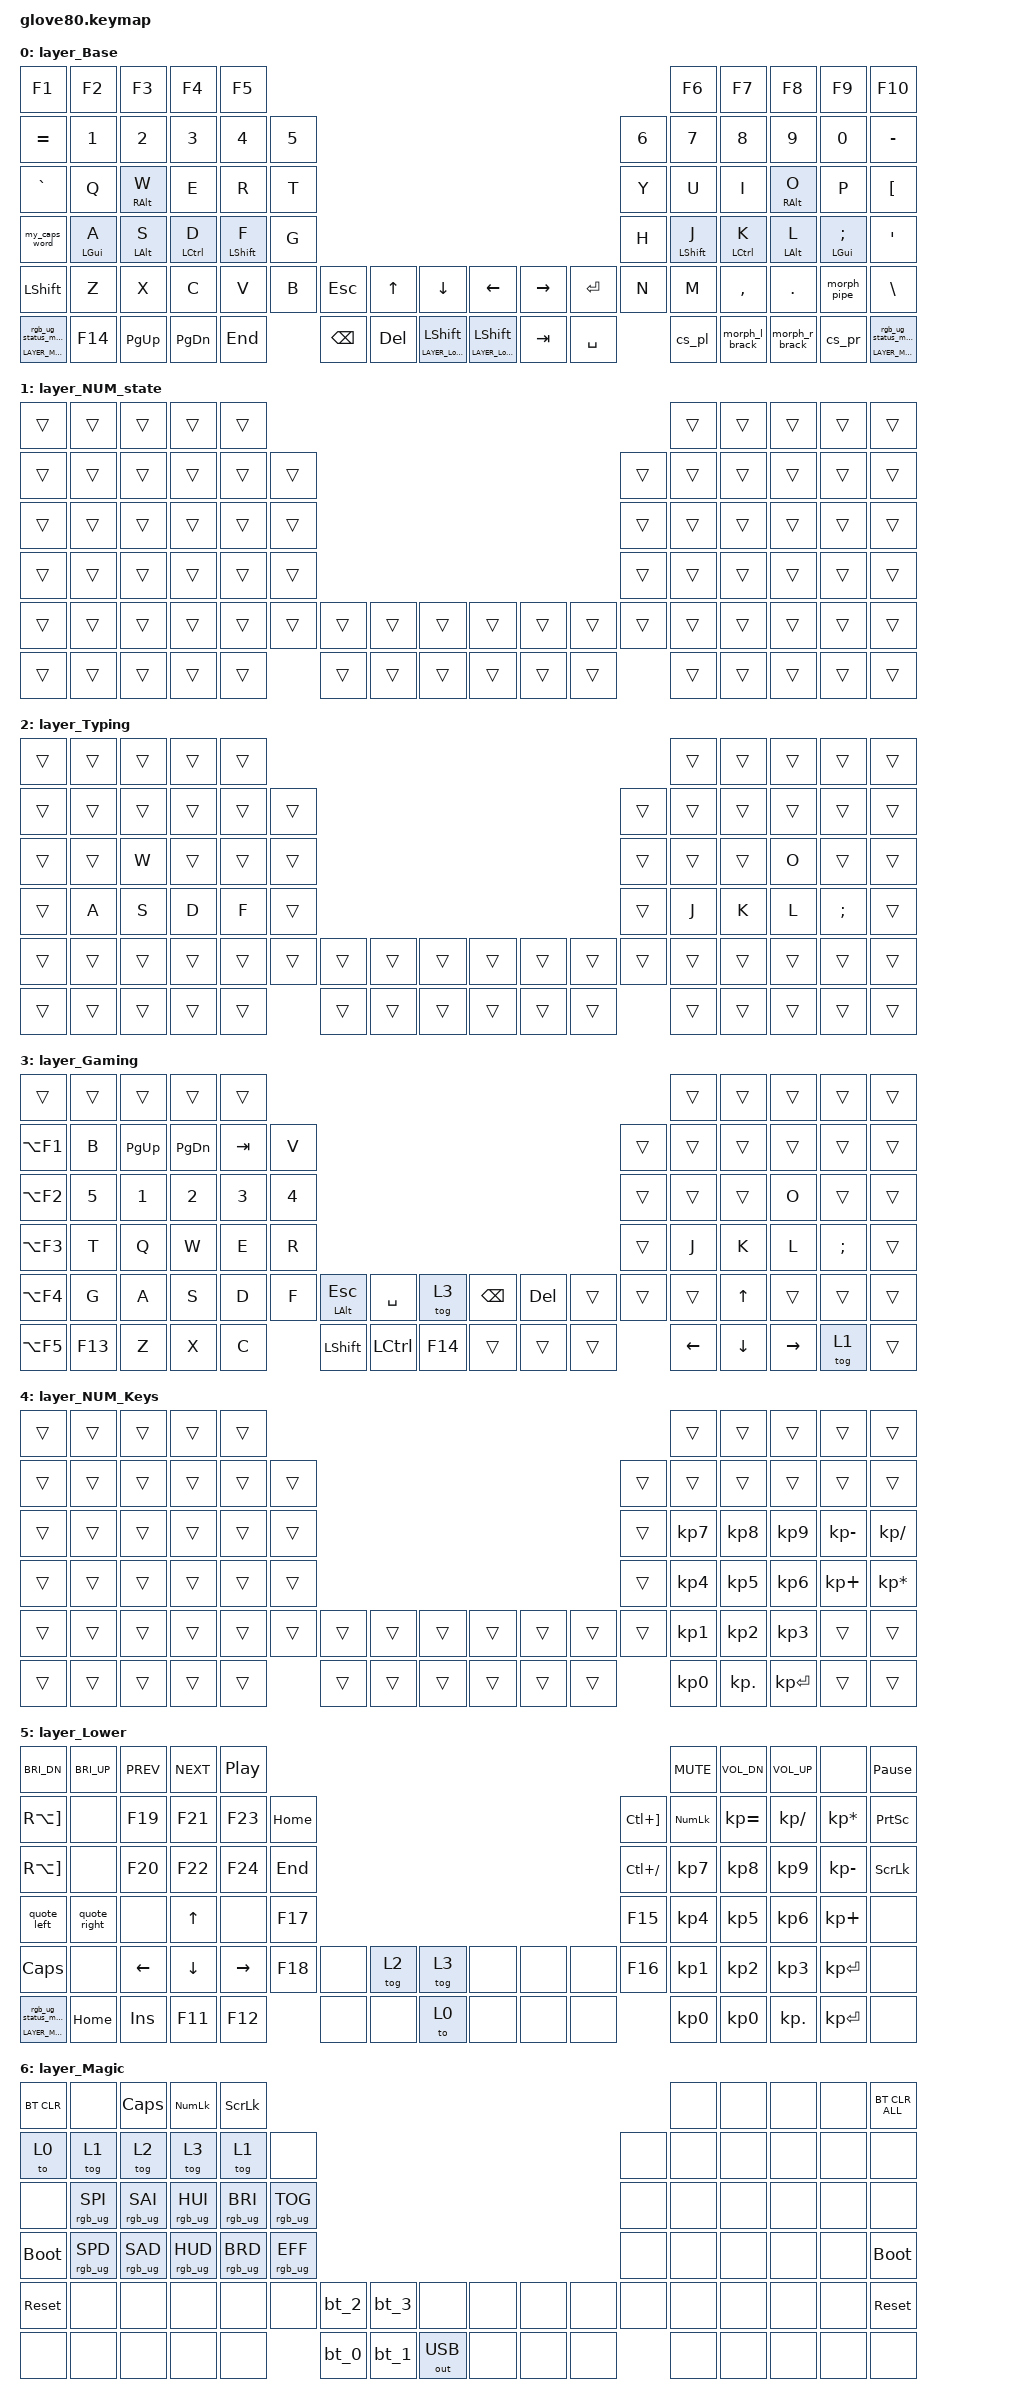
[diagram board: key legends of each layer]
/*
 * Copyright (c) 2020 The ZMK Contributors
 * Copyright (c) 2025 Innaworks Development Limited, trading as MoErgo
 *
 * SPDX-License-Identifier: MIT
 */


/* THIS FILE WAS GENERATED BY GLOVE80 LAYOUT EDITOR
 *
 * This file was generated automatically. You may or may not want to
 * edit it directly.
 */

#include <behaviors.dtsi>
/* Include all behavior includes needed */
#include <dt-bindings/zmk/outputs.h>
#include <dt-bindings/zmk/keys.h>
#include <dt-bindings/zmk/bt.h>
#include <dt-bindings/zmk/rgb.h>

/* On demand includes */


/* Helper Macros, based on https://github.com/urob/zmk-helpers/ */

#pragma once

#define ZMK_HELPER_STRINGIFY(x) #x

// Preprocessor mechanism to overload macros, cf. https://stackoverflow.com/a/27051616/6114651
#define VARGS_(_10, _9, _8, _7, _6, _5, _4, _3, _2, _1, N, ...) N
#define VARGS(...) VARGS_(__VA_ARGS__, 10, 9, 8, 7, 6, 5, 4, 3, 2, 1, 0)
#define CONCAT_(a, b) a##b
#define CONCAT(a, b) CONCAT_(a, b)

#define ZMK_BEHAVIOR_CORE_tap_dance  \
    compatible = "zmk,behavior-tap-dance"; \
    #binding-cells = <0>

#define ZMK_BEHAVIOR(name, type, ...) \
    name: name { \
        ZMK_BEHAVIOR_CORE_ ## type; \
        __VA_ARGS__ \
    };

#define ZMK_TAP_DANCE(name, ...) \
    ZMK_BEHAVIOR(name, tap_dance, __VA_ARGS__)

#define ZMK_TD_LAYER(name, layer) \
    ZMK_TAP_DANCE(name, \
        tapping-term-ms = <200>; \
        bindings = <&mo layer>, <&to layer>; \
)

/* Automatically generated layer name #define */
#define LAYER_Base 0
#define LAYER_NUM_state 1
#define LAYER_Typing 2
#define LAYER_Gaming 3
#define LAYER_NUM_Keys 4
#define LAYER_Lower 5
#define LAYER_Magic 6

/* To deal with the situation where there is no Lower layer, to keep &lower happy */
#ifndef LAYER_Lower
#define LAYER_Lower 0
#endif

/* Custom Device-tree */
/* Empty underglow layer definition (for copy-paste)
        mylayer {
            bindings = <
                &ug ___ &ug ___ &ug ___ &ug ___ &ug ___                                                          &ug ___ &ug ___ &ug ___ &ug ___ &ug ___
                &ug ___ &ug ___ &ug ___ &ug ___ &ug ___ &ug ___                                            &ug ___ &ug ___ &ug ___ &ug ___ &ug ___ &ug ___
                &ug ___ &ug ___ &ug ___ &ug ___ &ug ___ &ug ___                                            &ug ___ &ug ___ &ug ___ &ug ___ &ug ___ &ug ___
                &ug ___ &ug ___ &ug ___ &ug ___ &ug ___ &ug ___                                            &ug ___ &ug ___ &ug ___ &ug ___ &ug ___ &ug ___
                &ug ___ &ug ___ &ug ___ &ug ___ &ug ___ &ug ___ &ug ___ &ug ___ &ug ___  &ug ___ &ug ___ &ug ___ &ug ___ &ug ___ &ug ___ &ug ___ &ug ___ &ug ___
                &ug ___ &ug ___ &ug ___ &ug ___ &ug ___        &ug ___ &ug ___ &ug ___  &ug ___ &ug ___ &ug ___        &ug ___ &ug ___ &ug ___ &ug ___ &ug ___
                >;
            layer-id = <LAYER_Name>;
        };
*/

#include <dt-bindings/zmk/rgb_colors.h>
/ {
    underglow-layer {
        compatible  = "zmk,underglow-layer";

        lower {
            bindings = <
                &ug ___ &ug ___ &ug ___ &ug ___ &ug ___                                                          &ug ___ &ug ___ &ug ___ &ug ___ &ug ___
                &ug ___ &ug ___ &ug ___ &ug ___ &ug ___ &ug ___                                            &ug ___ &ug ___ &ug ___ &ug ___ &ug ___ &ug ___
                &ug ___ &ug ___ &ug ___ &ug ___ &ug ___ &ug ___                                            &ug ___ &ug ORANGE &ug ORANGE &ug ORANGE &ug ___ &ug ___
                &ug ___ &ug ___ &ug ___ &ug RED &ug ___ &ug ___                                            &ug ___ &ug ORANGE &ug ORANGE &ug ORANGE &ug ___ &ug ___
                &ug ___ &ug ___ &ug RED &ug RED &ug RED    &ug ___ &ug ___ &ug ___ &ug ___  &ug ___ &ug ___ &ug ___ &ug ___ &ug ORANGE &ug ORANGE &ug ORANGE &ug ___ &ug ___
                &ug ___ &ug ___ &ug ___ &ug ___ &ug ___        &ug ___ &ug ___ &ug ___  &ug ___ &ug ___ &ug ___        &ug YELLOW &ug YELLOW &ug ___ &ug ___ &ug ___
                >;
            layer-id = <LAYER_Lower>;
        };

        magic {
            bindings = <
                  &ug TEAL   &ug TEAL   &ug TEAL   &ug TEAL   &ug TEAL                                                            &ug TEAL   &ug TEAL   &ug TEAL   &ug TEAL   &ug TEAL 
                  &ug PINK &ug ___ &ug ___ &ug ___ &ug ___ &ug ___                                            &ug ___ &ug ___ &ug ___ &ug ___ &ug ___   &ug PINK
                  &ug PINK &ug ___ &ug ___ &ug ___ &ug ___ &ug ___                                            &ug ___ &ug ___ &ug ___ &ug ___ &ug ___   &ug PINK
                  &ug PINK &ug ___ &ug ___ &ug ___ &ug ___ &ug ___                                            &ug ___ &ug ___ &ug ___ &ug ___ &ug ___   &ug PINK
                  &ug PINK &ug ___ &ug ___ &ug ___ &ug ___ &ug ___ &ug ___ &ug ___ &ug ___  &ug ___ &ug ___ &ug ___ &ug ___ &ug ___ &ug ___ &ug ___ &ug ___   &ug PINK
                  &ug PINK &ug ___ &ug ___ &ug ___ &ug ___        &ug ___ &ug ___ &ug ___  &ug ___ &ug ___ &ug ___        &ug ___ &ug ___ &ug ___ &ug ___   &ug PINK
                >;
            layer-id = <LAYER_Magic>;
        };

        gaming {
            bindings = <
                &ug ___ &ug ___ &ug ___ &ug ___ &ug ___                                                          &ug ___ &ug ___ &ug ___ &ug ___ &ug ___
                &ug ___ &ug ___ &ug ___ &ug ___ &ug ___ &ug ___                                            &ug ___ &ug ___ &ug ___ &ug ___ &ug ___ &ug ___
                &ug ___ &ug ___ &ug ___ &ug ___ &ug ___ &ug ___                                            &ug ___ &ug ___ &ug ___ &ug ___ &ug ___ &ug ___
                &ug ___ &ug ___ &ug ___ &ug ___ &ug ___ &ug ___                                            &ug ___ &ug ___ &ug ___ &ug ___ &ug ___ &ug ___
                &ug ___ &ug ___ &ug ___ &ug ___ &ug ___ &ug ___ &ug ___ &ug ___ &ug PURPLE  &ug ___ &ug ___ &ug ___ &ug ___ &ug ___ &ug ___ &ug ___ &ug ___ &ug ___
                &ug ___ &ug ___ &ug ___ &ug ___ &ug ___        &ug ___ &ug ___ &ug ___  &ug ___ &ug ___ &ug ___        &ug ___ &ug ___ &ug ___ &ug ___ &ug ___
                >;
            layer-id = <LAYER_Gaming>;
        };

        typing {
            bindings = <
                &ug ___ &ug ___ &ug ___ &ug ___ &ug ___                                                          &ug ___ &ug ___ &ug ___ &ug ___ &ug ___
                &ug ___ &ug ___ &ug ___ &ug ___ &ug ___ &ug ___                                            &ug ___ &ug ___ &ug ___ &ug ___ &ug ___ &ug ___
                &ug ___ &ug ___ &ug ___ &ug ___ &ug ___ &ug ___                                            &ug ___ &ug ___ &ug ___ &ug ___ &ug ___ &ug ___
                &ug ___ &ug ___ &ug ___ &ug ___ &ug ___ &ug ___                                            &ug ___ &ug ___ &ug ___ &ug ___ &ug ___ &ug ___
                &ug ___ &ug ___ &ug ___ &ug ___ &ug ___ &ug ___ &ug ___ &ug PURPLE &ug ___  &ug ___ &ug ___ &ug ___ &ug ___ &ug ___ &ug ___ &ug ___ &ug ___ &ug ___
                &ug ___ &ug ___ &ug ___ &ug ___ &ug ___        &ug ___ &ug ___ &ug ___  &ug ___ &ug ___ &ug ___        &ug ___ &ug ___ &ug ___ &ug ___ &ug ___
                >;
            layer-id = <LAYER_Typing>;
        };

        numkeys {
            bindings = <
                &ug ___ &ug ___ &ug ___ &ug ___ &ug ___                                                          &ug ___ &ug ___ &ug ___ &ug ___ &ug ___
                &ug ___ &ug ___ &ug ___ &ug ___ &ug ___ &ug ___                                            &ug ___ &ug ___ &ug ___ &ug ___ &ug ___ &ug ___
                &ug ___ &ug ___ &ug ___ &ug ___ &ug ___ &ug ___                                            &ug ___ &ug ___ &ug ___ &ug ___ &ug ___ &ug ___
                &ug ___ &ug ___ &ug ___ &ug ___ &ug ___ &ug ___                                            &ug ___ &ug ___ &ug ___ &ug ___ &ug ___ &ug ___
                &ug ___ &ug ___ &ug ___ &ug ___ &ug ___ &ug ___ &ug ___ &ug ___ &ug PURPLE  &ug ___ &ug ___ &ug ___ &ug ___ &ug ___ &ug ___ &ug ___ &ug ___ &ug ___
                &ug ___ &ug ___ &ug ___ &ug ___ &ug ___        &ug ___ &ug ___ &ug ___  &ug ___ &ug ___ &ug ___        &ug ___ &ug ___ &ug ___ &ug PURPLE &ug ___
                >;
            layer-id = <LAYER_NUM_Keys>;
        };
    };
};

/* Input Listeners */


/* System behavior and Macros */
/ {
    behaviors {
        ZMK_TD_LAYER(lower, LAYER_Lower)
    };
};

/ {
    macros {
        rgb_ug_status_macro: rgb_ug_status_macro {
            label = "RGB_UG_STATUS";
            compatible = "zmk,behavior-macro";
            #binding-cells = <0>;
            bindings
                = <&rgb_ug RGB_STATUS>;
        };
    };
};


/ {
#ifdef BT_DISC_CMD
    behaviors {
        bt_0: bt_0 {
            compatible = "zmk,behavior-tap-dance";
            label = "BT_0";
            #binding-cells = <0>;
            tapping-term-ms = <200>;
            bindings = <&bt_select_0>, <&bt BT_DISC 0>;
        };
        bt_1: bt_1 {
            compatible = "zmk,behavior-tap-dance";
            label = "BT_1";
            #binding-cells = <0>;
            tapping-term-ms = <200>;
            bindings = <&bt_select_1>, <&bt BT_DISC 1>;
        };
        bt_2: bt_2 {
            compatible = "zmk,behavior-tap-dance";
            label = "BT_2";
            #binding-cells = <0>;
            tapping-term-ms = <200>;
            bindings = <&bt_select_2>, <&bt BT_DISC 2>;
        };
        bt_3: bt_3 {
            compatible = "zmk,behavior-tap-dance";
            label = "BT_3";
            #binding-cells = <0>;
            tapping-term-ms = <200>;
            bindings = <&bt_select_3>, <&bt BT_DISC 3>;
        };
    };
    macros {
        bt_select_0: bt_select_0 {
            label = "BT_SELECT_0";
            compatible = "zmk,behavior-macro";
            #binding-cells = <0>;
            bindings
                = <&out OUT_BLE>,
                  <&bt BT_SEL 0>;
        };
        bt_select_1: bt_select_1 {
            label = "BT_SELECT_1";
            compatible = "zmk,behavior-macro";
            #binding-cells = <0>;
            bindings
                = <&out OUT_BLE>,
                  <&bt BT_SEL 1>;
        };
        bt_select_2: bt_select_2 {
            label = "BT_SELECT_2";
            compatible = "zmk,behavior-macro";
            #binding-cells = <0>;
            bindings
                = <&out OUT_BLE>,
                  <&bt BT_SEL 2>;
        };
        bt_select_3: bt_select_3 {
            label = "BT_SELECT_3";
            compatible = "zmk,behavior-macro";
            #binding-cells = <0>;
            bindings
                = <&out OUT_BLE>,
                  <&bt BT_SEL 3>;
        };
    };
#else
    macros {
        bt_0: bt_0 {
            label = "BT_0";
            compatible = "zmk,behavior-macro";
            #binding-cells = <0>;
            bindings
                = <&out OUT_BLE>,
                  <&bt BT_SEL 0>;
        };
        bt_1: bt_1 {
            label = "BT_1";
            compatible = "zmk,behavior-macro";
            #binding-cells = <0>;
            bindings
                = <&out OUT_BLE>,
                  <&bt BT_SEL 1>;
        };
        bt_2: bt_2 {
            label = "BT_2";
            compatible = "zmk,behavior-macro";
            #binding-cells = <0>;
            bindings
                = <&out OUT_BLE>,
                  <&bt BT_SEL 2>;
        };
        bt_3: bt_3 {
            label = "BT_3";
            compatible = "zmk,behavior-macro";
            #binding-cells = <0>;
            bindings
                = <&out OUT_BLE>,
                  <&bt BT_SEL 3>;
        };
    };
#endif
};

/ {
    behaviors {
        magic: magic {
            compatible = "zmk,behavior-hold-tap";
            label = "MAGIC_HOLD_TAP";
            #binding-cells = <2>;
            flavor = "tap-preferred";
            tapping-term-ms = <200>;
            bindings = <&mo>, <&rgb_ug_status_macro>;
        };
    };
};

/* #define for key positions */
#define POS_LH_T1 52
#define POS_LH_T2 53
#define POS_LH_T3 54
#define POS_LH_T4 69
#define POS_LH_T5 70
#define POS_LH_T6 71
#define POS_LH_C1R2 15
#define POS_LH_C1R3 27
#define POS_LH_C1R4 39
#define POS_LH_C1R5 51
#define POS_LH_C2R1 4
#define POS_LH_C2R2 14
#define POS_LH_C2R3 26
#define POS_LH_C2R4 38
#define POS_LH_C2R5 50
#define POS_LH_C2R6 68
#define POS_LH_C3R1 3
#define POS_LH_C3R2 13
#define POS_LH_C3R3 25
#define POS_LH_C3R4 37
#define POS_LH_C3R5 49
#define POS_LH_C3R6 67
#define POS_LH_C4R1 2
#define POS_LH_C4R2 12
#define POS_LH_C4R3 24
#define POS_LH_C4R4 36
#define POS_LH_C4R5 48
#define POS_LH_C4R6 66
#define POS_LH_C5R1 1
#define POS_LH_C5R2 11
#define POS_LH_C5R3 23
#define POS_LH_C5R4 35
#define POS_LH_C5R5 47
#define POS_LH_C5R6 65
#define POS_LH_C6R1 0
#define POS_LH_C6R2 10
#define POS_LH_C6R3 22
#define POS_LH_C6R4 34
#define POS_LH_C6R5 46
#define POS_LH_C6R6 64
#define POS_RH_T1 57
#define POS_RH_T2 56
#define POS_RH_T3 55
#define POS_RH_T4 74
#define POS_RH_T5 73
#define POS_RH_T6 72
#define POS_RH_C1R2 16
#define POS_RH_C1R3 28
#define POS_RH_C1R4 40
#define POS_RH_C1R5 58
#define POS_RH_C2R1 5
#define POS_RH_C2R2 17
#define POS_RH_C2R3 29
#define POS_RH_C2R4 41
#define POS_RH_C2R5 59
#define POS_RH_C2R6 75
#define POS_RH_C3R1 6
#define POS_RH_C3R2 18
#define POS_RH_C3R3 30
#define POS_RH_C3R4 42
#define POS_RH_C3R5 60
#define POS_RH_C3R6 76
#define POS_RH_C4R1 7
#define POS_RH_C4R2 19
#define POS_RH_C4R3 31
#define POS_RH_C4R4 43
#define POS_RH_C4R5 61
#define POS_RH_C4R6 77
#define POS_RH_C5R1 8
#define POS_RH_C5R2 20
#define POS_RH_C5R3 32
#define POS_RH_C5R4 44
#define POS_RH_C5R5 62
#define POS_RH_C5R6 78
#define POS_RH_C6R1 9
#define POS_RH_C6R2 21
#define POS_RH_C6R3 33
#define POS_RH_C6R4 45
#define POS_RH_C6R5 63
#define POS_RH_C6R6 79

/* Custom Defined Behaviors */
/ {

#define OS_LEAD  &kp RALT &kp U  // OS specific sequence to initialize unicode
#define OS_TRAIL &kp RET         // OS specific sequence to terminate unicode

behaviors {

    // hold tab
    ht_tp: hold_tab {
        compatible = "zmk,behavior-hold-tap";
        #binding-cells = <2>;
        flavor = "tap-preferred";
        tapping-term-ms = <200>;
        quick-tap-ms = <200>;
        require-prior-idle-ms = <125>;
        bindings = <&kp>, <&kp>;
    };

    // My Mod tap
    mmt: my_mod_tap {
        compatible = "zmk,behavior-hold-tap";
        #binding-cells = <2>;
        flavor = "hold-preferred";
        tapping-term-ms = <200>;
        quick-tap-ms = <150>;
        require-prior-idle-ms = <20>;
        bindings = <&kp>, <&kpt>;
    };

    // Key Press with custom press time of 30ms
    kpt: kp_tap_time {
        compatible = "zmk,behavior-macro-one-param";
        label = "KPT";
        tap-ms = <30>;  // tweak as needed
        #binding-cells = <1>;
        bindings = <&macro_param_1to1>, <&kp MACRO_PLACEHOLDER>;
    };

    // hold tab lower and shift
    skq: sticky_key_quick_release {
        compatible = "zmk,behavior-sticky-key";
        #binding-cells = <1>;
        bindings = <&kp>;
        release-after-ms = <5000>;
        quick-release;
        ignore-modifiers;
    };
    ht_lower: ht_lower {
        compatible = "zmk,behavior-hold-tap";
        #binding-cells = <2>;
        flavor = "tap-preferred";
        tapping-term-ms = <200>;
        quick-tap-ms = <200>;
        require-prior-idle-ms = <125>;
        bindings = <&mo>, <&skq>;
    };


      
    // Ctrl + Shift to make ( or < 
    cs_pl: cs_pl {
        compatible = "zmk,behavior-mod-morph";
        #binding-cells = <0>;
        bindings = <&kp LS(N8)>, <&kp NON_US_BSLH>;
        mods = <(MOD_LCTL|MOD_LSFT|MOD_RCTL|MOD_RSFT)>;
    };

    // Ctrl + Shift to make ) or < 
    cs_pr: cs_pr {
        compatible = "zmk,behavior-mod-morph";
        #binding-cells = <0>;
        bindings = <&kp LS(N9)>, <&kp LS(NON_US_BSLH)>;
        mods = <(MOD_LCTL|MOD_LSFT|MOD_RCTL|MOD_RSFT)>;
    };

    // Normal [
    // Shift {
    // Ctrl 
    morph_l_brack2: morph_l_brack2 {
        compatible = "zmk,behavior-mod-morph";
        #binding-cells = <0>;
        bindings = <&kp RA(N8)>, <&kp RA(N7)>;
        mods = <(MOD_LSFT|MOD_RSFT)>;
    };
    morph_l_brack: morph_l_brack {
        compatible = "zmk,behavior-mod-morph";
        #binding-cells = <0>;
        bindings = <&morph_l_brack2>, <&kp LS(N7)>;
        mods = <(MOD_LCTL|MOD_RCTL)>;
    };


    // Normal ]
    // Shift }
    // Ctrl 
    morph_r_brack2: morph_r_brack2 {
        compatible = "zmk,behavior-mod-morph";
        #binding-cells = <0>;
        bindings = <&kp RA(N9)>, <&kp RA(N0)>;
        mods = <(MOD_LSFT|MOD_RSFT)>;
    };
    morph_r_brack: morph_r_brack {
        compatible = "zmk,behavior-mod-morph";
        #binding-cells = <0>;
        bindings = <&morph_r_brack2>, <&kp RA(MINUS)>;
        mods = <(MOD_LCTL|MOD_RCTL)>;
    };

    // Pipe Symbol on - key
    morph_pipe: morph_pipe {
        compatible = "zmk,behavior-mod-morph";
        #binding-cells = <0>;
        bindings = <&kp FSLH>, <&kp RA(NON_US_BSLH)>;
        mods = <(MOD_LALT|MOD_RALT)>;
    };



   // List of words for CAPS 
   my_caps_word: my_caps_word {
       compatible = "zmk,behavior-caps-word";
       #binding-cells = <0>;
       continue-list = <UNDERSCORE MINUS FSLH SQT LBKT SEMI>;
   };

};



// Conditional layer to make gaming overlay better
// Store info in state layer and only activate real layer when gaming is active
conditional_layers {
    compatible = "zmk,conditional-layers";
    gaming_num {
        if-layers = <LAYER_Gaming LAYER_NUM_state>;
        then-layer = <LAYER_NUM_Keys>;
    };
};




//////////////////////////////////////////////////////////////////////////////
//
// Advanced Home Row Mods (HRM) Example based on
// Sunaku's Keymap v35 -- "Glorious Engrammer"
// - https://github.com/sunaku/glove80-keymaps
//
//////////////////////////////////////////////////////////////////////////////

//
// DIFFICULTY_LEVEL specifies your level of expertise with this keymap.
// It's meant to help newcomers gradually work their way up to mastery.
// You can disable this setting by omitting it or assigning a `0` zero.
//

#define HOMEY_HOLDING_TIME 270
#define HOMEY_STREAK_DECAY 100

behaviors {

    //////////////////////////////////////////////////////////////////////////
    //
    // Miryoku layers and home row mods (ported from my QMK endgame)
    // - https://sunaku.github.io/home-row-mods.html#porting-to-zmk
    // - https://github.com/urob/zmk-config#timeless-homerow-mods
    //
    //////////////////////////////////////////////////////////////////////////

    //
    // HOMEY_HOLDING_TYPE defines the flavor of ZMK hold-tap behavior to use
    // for the pinky, ring, and middle fingers (which are assigned to Super,
    // Alt, and Ctrl respectively in the Miryoku system) on home row keys.
    //
    #ifndef HOMEY_HOLDING_TYPE
    #define HOMEY_HOLDING_TYPE "tap-preferred"
    #endif

    //
    // HOMEY_HOLDING_TIME defines how long you need to hold (milliseconds)
    // home row mod keys in order to send their modifiers to the computer
    // (i.e. "register" them) for mod-click mouse usage (e.g. Ctrl-Click).
    //
    #ifndef HOMEY_HOLDING_TIME
    #define HOMEY_HOLDING_TIME 270 // TAPPING_TERM + ALLOW_CROSSOVER_AFTER
    #endif

    //
    // HOMEY_STREAK_DECAY defines how long you need to wait (milliseconds)
    // after typing before you can use home row mods again.  It prevents
    // unintended activation of home row mods when you're actively typing.
    //
    #ifndef HOMEY_STREAK_DECAY
    #define HOMEY_STREAK_DECAY 250
    #endif

    //
    // HOMEY_REPEAT_DECAY defines how much time you have left (milliseconds)
    // after tapping a key to hold it again in order to make it auto-repeat.
    //
    #ifndef HOMEY_REPEAT_DECAY
    #define HOMEY_REPEAT_DECAY 300 // "tap then hold" for key auto-repeat
    #endif

    //
    // INDEX_HOLDING_TYPE defines the flavor of ZMK hold-tap behavior to use
    // for index fingers (which Miryoku assigns to Shift) on home row keys.
    //
    #ifndef INDEX_HOLDING_TYPE
    #define INDEX_HOLDING_TYPE "tap-preferred"
    #endif

    //
    // INDEX_HOLDING_TIME defines how long you need to hold (milliseconds)
    // index finger keys in order to send their modifiers to the computer
    // (i.e. "register" them) for mod-click mouse usage (e.g. Shift-Click).
    //
    #ifndef INDEX_HOLDING_TIME
    #define INDEX_HOLDING_TIME 170
    #endif

    //
    // INDEX_STREAK_DECAY defines how long you need to wait (milliseconds)
    // after typing before you can use home row mods again.  It prevents
    // unintended activation of home row mods when you're actively typing.
    //
    #ifndef INDEX_STREAK_DECAY
    #define INDEX_STREAK_DECAY 150
    #endif

    //
    // INDEX_REPEAT_DECAY defines how much time you have left (milliseconds)
    // after tapping a key to hold it again in order to make it auto-repeat.
    //
    #ifndef INDEX_REPEAT_DECAY
    #define INDEX_REPEAT_DECAY 300 // "tap then hold" for key auto-repeat
    #endif

    //
    // Glove80 key positions index for positional hold-tap
    // - https://discord.com/channels/877392805654306816/937645688244826154/1066713913351221248
    // - https://media.discordapp.net/attachments/937645688244826154/1066713913133121556/image.png
    //
    // |------------------------|------------------------|
    // | LEFT_HAND_KEYS         |        RIGHT_HAND_KEYS |
    // |                        |                        |
    // |  0  1  2  3  4         |          5  6  7  8  9 |
    // | 10 11 12 13 14 15      |      16 17 18 19 20 21 |
    // | 22 23 24 25 26 27      |      28 29 30 31 32 33 |
    // | 34 35 36 37 38 39      |      40 41 42 43 44 45 |
    // | 46 47 48 49 50 51      |      58 59 60 61 62 63 |
    // | 64 65 66 67 68         |         75 76 77 78 79 |
    // |                69 52   |   57 74                |
    // |                 70 53  |  56 73                 |
    // |                  71 54 | 55 72                  |
    // |------------------------|------------------------|
    //
    #define LEFT_HAND_KEYS      \
          0  1  2  3  4         \
         10 11 12 13 14 15      \
         22 23 24 25 26 27      \
         34 35 36 37 38 39      \
         46 47 48 49 50 51      \
         64 65 66 67 68
    #define RIGHT_HAND_KEYS     \
                                           5  6  7  8  9 \
                                       16 17 18 19 20 21 \
                                       28 29 30 31 32 33 \
                                       40 41 42 43 44 45 \
                                       58 59 60 61 62 63 \
                                          75 76 77 78 79
    #define THUMB_KEYS          \
                        69 52       57 74                \
                         70 53     56 73                 \
                          71 54   55 72

    //
    // Home row mods with per-finger configuration settings
    //
    #ifndef PINKY_HOLDING_TYPE
    #define PINKY_HOLDING_TYPE HOMEY_HOLDING_TYPE
    #endif
    #ifndef PINKY_HOLDING_TIME
    #define PINKY_HOLDING_TIME HOMEY_HOLDING_TIME
    #endif
    #ifndef PINKY_STREAK_DECAY
    #define PINKY_STREAK_DECAY HOMEY_STREAK_DECAY
    #endif
    #ifndef PINKY_REPEAT_DECAY
    #define PINKY_REPEAT_DECAY HOMEY_REPEAT_DECAY
    #endif
    #ifndef RING1_HOLDING_TYPE
    #define RING1_HOLDING_TYPE HOMEY_HOLDING_TYPE
    #endif
    #ifndef RING1_HOLDING_TIME
    #define RING1_HOLDING_TIME HOMEY_HOLDING_TIME
    #endif
    #ifndef RING1_STREAK_DECAY
    #define RING1_STREAK_DECAY HOMEY_STREAK_DECAY
    #endif
    #ifndef RING1_REPEAT_DECAY
    #define RING1_REPEAT_DECAY HOMEY_REPEAT_DECAY
    #endif
    #ifndef RING2_HOLDING_TYPE
    #define RING2_HOLDING_TYPE HOMEY_HOLDING_TYPE
    #endif
    #ifndef RING2_HOLDING_TIME
    #define RING2_HOLDING_TIME HOMEY_HOLDING_TIME
    #endif
    #ifndef RING2_STREAK_DECAY
    #define RING2_STREAK_DECAY HOMEY_STREAK_DECAY
    #endif
    #ifndef RING2_REPEAT_DECAY
    #define RING2_REPEAT_DECAY HOMEY_REPEAT_DECAY
    #endif
    #ifndef MIDDY_HOLDING_TYPE
    #define MIDDY_HOLDING_TYPE HOMEY_HOLDING_TYPE
    #endif
    #ifndef MIDDY_HOLDING_TIME
    #define MIDDY_HOLDING_TIME HOMEY_HOLDING_TIME
    #endif
    #ifndef MIDDY_STREAK_DECAY
    #define MIDDY_STREAK_DECAY HOMEY_STREAK_DECAY
    #endif
    #ifndef MIDDY_REPEAT_DECAY
    #define MIDDY_REPEAT_DECAY HOMEY_REPEAT_DECAY
    #endif
    #ifndef INDEX_HOLDING_TYPE
    #define INDEX_HOLDING_TYPE HOMEY_HOLDING_TYPE
    #endif
    #ifndef INDEX_HOLDING_TIME
    #define INDEX_HOLDING_TIME HOMEY_HOLDING_TIME
    #endif
    #ifndef INDEX_STREAK_DECAY
    #define INDEX_STREAK_DECAY HOMEY_STREAK_DECAY
    #endif
    #ifndef INDEX_REPEAT_DECAY
    #define INDEX_REPEAT_DECAY HOMEY_REPEAT_DECAY
    #endif
    #ifndef LEFT_PINKY_HOLDING_TYPE
    #define LEFT_PINKY_HOLDING_TYPE PINKY_HOLDING_TYPE
    #endif
    #ifndef LEFT_PINKY_HOLDING_TIME
    #define LEFT_PINKY_HOLDING_TIME PINKY_HOLDING_TIME
    #endif
    #ifndef LEFT_PINKY_STREAK_DECAY
    #define LEFT_PINKY_STREAK_DECAY PINKY_STREAK_DECAY
    #endif
    #ifndef LEFT_PINKY_REPEAT_DECAY
    #define LEFT_PINKY_REPEAT_DECAY PINKY_REPEAT_DECAY
    #endif
    left_pinky: homey_left_pinky {
        compatible = "zmk,behavior-hold-tap";
        flavor = LEFT_PINKY_HOLDING_TYPE;
        hold-trigger-key-positions = <RIGHT_HAND_KEYS THUMB_KEYS>;
        hold-trigger-on-release; // wait for other home row mods
        tapping-term-ms = <LEFT_PINKY_HOLDING_TIME>;
        quick-tap-ms = <LEFT_PINKY_REPEAT_DECAY>;
        require-prior-idle-ms = <LEFT_PINKY_STREAK_DECAY>;
        #binding-cells = <2>;
        bindings = <&kp>, <&kp>;
    };
    #ifndef RIGHT_PINKY_HOLDING_TYPE
    #define RIGHT_PINKY_HOLDING_TYPE PINKY_HOLDING_TYPE
    #endif
    #ifndef RIGHT_PINKY_HOLDING_TIME
    #define RIGHT_PINKY_HOLDING_TIME PINKY_HOLDING_TIME
    #endif
    #ifndef RIGHT_PINKY_STREAK_DECAY
    #define RIGHT_PINKY_STREAK_DECAY PINKY_STREAK_DECAY
    #endif
    #ifndef RIGHT_PINKY_REPEAT_DECAY
    #define RIGHT_PINKY_REPEAT_DECAY PINKY_REPEAT_DECAY
    #endif
    right_pinky: homey_right_pinky {
        compatible = "zmk,behavior-hold-tap";
        flavor = RIGHT_PINKY_HOLDING_TYPE;
        hold-trigger-key-positions = <LEFT_HAND_KEYS THUMB_KEYS>;
        hold-trigger-on-release; // wait for other home row mods
        tapping-term-ms = <RIGHT_PINKY_HOLDING_TIME>;
        quick-tap-ms = <RIGHT_PINKY_REPEAT_DECAY>;
        require-prior-idle-ms = <RIGHT_PINKY_STREAK_DECAY>;
        #binding-cells = <2>;
        bindings = <&kp>, <&kp>;
    };
    #ifndef LEFT_RING1_HOLDING_TYPE
    #define LEFT_RING1_HOLDING_TYPE RING1_HOLDING_TYPE
    #endif
    #ifndef LEFT_RING1_HOLDING_TIME
    #define LEFT_RING1_HOLDING_TIME RING1_HOLDING_TIME
    #endif
    #ifndef LEFT_RING1_STREAK_DECAY
    #define LEFT_RING1_STREAK_DECAY RING1_STREAK_DECAY
    #endif
    #ifndef LEFT_RING1_REPEAT_DECAY
    #define LEFT_RING1_REPEAT_DECAY RING1_REPEAT_DECAY
    #endif
    left_ring1: homey_left_ring1 {
        compatible = "zmk,behavior-hold-tap";
        flavor = LEFT_RING1_HOLDING_TYPE;
        hold-trigger-key-positions = <RIGHT_HAND_KEYS THUMB_KEYS>;
        hold-trigger-on-release; // wait for other home row mods
        tapping-term-ms = <LEFT_RING1_HOLDING_TIME>;
        quick-tap-ms = <LEFT_RING1_REPEAT_DECAY>;
        require-prior-idle-ms = <LEFT_RING1_STREAK_DECAY>;
        #binding-cells = <2>;
        bindings = <&kp>, <&kp>;
    };
    #ifndef RIGHT_RING1_HOLDING_TYPE
    #define RIGHT_RING1_HOLDING_TYPE RING1_HOLDING_TYPE
    #endif
    #ifndef RIGHT_RING1_HOLDING_TIME
    #define RIGHT_RING1_HOLDING_TIME RING1_HOLDING_TIME
    #endif
    #ifndef RIGHT_RING1_STREAK_DECAY
    #define RIGHT_RING1_STREAK_DECAY RING1_STREAK_DECAY
    #endif
    #ifndef RIGHT_RING1_REPEAT_DECAY
    #define RIGHT_RING1_REPEAT_DECAY RING1_REPEAT_DECAY
    #endif
    right_ring1: homey_right_ring1 {
        compatible = "zmk,behavior-hold-tap";
        flavor = RIGHT_RING1_HOLDING_TYPE;
        hold-trigger-key-positions = <LEFT_HAND_KEYS THUMB_KEYS>;
        hold-trigger-on-release; // wait for other home row mods
        tapping-term-ms = <RIGHT_RING1_HOLDING_TIME>;
        quick-tap-ms = <RIGHT_RING1_REPEAT_DECAY>;
        require-prior-idle-ms = <RIGHT_RING1_STREAK_DECAY>;
        #binding-cells = <2>;
        bindings = <&kp>, <&kp>;
    };
    #ifndef LEFT_RING2_HOLDING_TYPE
    #define LEFT_RING2_HOLDING_TYPE RING2_HOLDING_TYPE
    #endif
    #ifndef LEFT_RING2_HOLDING_TIME
    #define LEFT_RING2_HOLDING_TIME RING2_HOLDING_TIME
    #endif
    #ifndef LEFT_RING2_STREAK_DECAY
    #define LEFT_RING2_STREAK_DECAY RING2_STREAK_DECAY
    #endif
    #ifndef LEFT_RING2_REPEAT_DECAY
    #define LEFT_RING2_REPEAT_DECAY RING2_REPEAT_DECAY
    #endif
    left_ring2: homey_left_ring2 {
        compatible = "zmk,behavior-hold-tap";
        flavor = LEFT_RING2_HOLDING_TYPE;
        hold-trigger-key-positions = <RIGHT_HAND_KEYS THUMB_KEYS>;
        hold-trigger-on-release; // wait for other home row mods
        tapping-term-ms = <LEFT_RING2_HOLDING_TIME>;
        quick-tap-ms = <LEFT_RING2_REPEAT_DECAY>;
        require-prior-idle-ms = <LEFT_RING2_STREAK_DECAY>;
        #binding-cells = <2>;
        bindings = <&kp>, <&kp>;
    };
    #ifndef RIGHT_RING2_HOLDING_TYPE
    #define RIGHT_RING2_HOLDING_TYPE RING2_HOLDING_TYPE
    #endif
    #ifndef RIGHT_RING2_HOLDING_TIME
    #define RIGHT_RING2_HOLDING_TIME RING2_HOLDING_TIME
    #endif
    #ifndef RIGHT_RING2_STREAK_DECAY
    #define RIGHT_RING2_STREAK_DECAY RING2_STREAK_DECAY
    #endif
    #ifndef RIGHT_RING2_REPEAT_DECAY
    #define RIGHT_RING2_REPEAT_DECAY RING2_REPEAT_DECAY
    #endif
    right_ring2: homey_right_ring2 {
        compatible = "zmk,behavior-hold-tap";
        flavor = RIGHT_RING2_HOLDING_TYPE;
        hold-trigger-key-positions = <LEFT_HAND_KEYS THUMB_KEYS>;
        hold-trigger-on-release; // wait for other home row mods
        tapping-term-ms = <RIGHT_RING2_HOLDING_TIME>;
        quick-tap-ms = <RIGHT_RING2_REPEAT_DECAY>;
        require-prior-idle-ms = <RIGHT_RING2_STREAK_DECAY>;
        #binding-cells = <2>;
        bindings = <&kp>, <&kp>;
    };
    #ifndef LEFT_MIDDY_HOLDING_TYPE
    #define LEFT_MIDDY_HOLDING_TYPE MIDDY_HOLDING_TYPE
    #endif
    #ifndef LEFT_MIDDY_HOLDING_TIME
    #define LEFT_MIDDY_HOLDING_TIME MIDDY_HOLDING_TIME
    #endif
    #ifndef LEFT_MIDDY_STREAK_DECAY
    #define LEFT_MIDDY_STREAK_DECAY MIDDY_STREAK_DECAY
    #endif
    #ifndef LEFT_MIDDY_REPEAT_DECAY
    #define LEFT_MIDDY_REPEAT_DECAY MIDDY_REPEAT_DECAY
    #endif
    left_middy: homey_left_middy {
        compatible = "zmk,behavior-hold-tap";
        flavor = LEFT_MIDDY_HOLDING_TYPE;
        hold-trigger-key-positions = <RIGHT_HAND_KEYS THUMB_KEYS>;
        hold-trigger-on-release; // wait for other home row mods
        tapping-term-ms = <LEFT_MIDDY_HOLDING_TIME>;
        quick-tap-ms = <LEFT_MIDDY_REPEAT_DECAY>;
        require-prior-idle-ms = <LEFT_MIDDY_STREAK_DECAY>;
        #binding-cells = <2>;
        bindings = <&kp>, <&kp>;
    };
    #ifndef RIGHT_MIDDY_HOLDING_TYPE
    #define RIGHT_MIDDY_HOLDING_TYPE MIDDY_HOLDING_TYPE
    #endif
    #ifndef RIGHT_MIDDY_HOLDING_TIME
    #define RIGHT_MIDDY_HOLDING_TIME MIDDY_HOLDING_TIME
    #endif
    #ifndef RIGHT_MIDDY_STREAK_DECAY
    #define RIGHT_MIDDY_STREAK_DECAY MIDDY_STREAK_DECAY
    #endif
    #ifndef RIGHT_MIDDY_REPEAT_DECAY
    #define RIGHT_MIDDY_REPEAT_DECAY MIDDY_REPEAT_DECAY
    #endif
    right_middy: homey_right_middy {
        compatible = "zmk,behavior-hold-tap";
        flavor = RIGHT_MIDDY_HOLDING_TYPE;
        hold-trigger-key-positions = <LEFT_HAND_KEYS THUMB_KEYS>;
        hold-trigger-on-release; // wait for other home row mods
        tapping-term-ms = <RIGHT_MIDDY_HOLDING_TIME>;
        quick-tap-ms = <RIGHT_MIDDY_REPEAT_DECAY>;
        require-prior-idle-ms = <RIGHT_MIDDY_STREAK_DECAY>;
        #binding-cells = <2>;
        bindings = <&kp>, <&kp>;
    };
    #ifndef LEFT_INDEX_HOLDING_TYPE
    #define LEFT_INDEX_HOLDING_TYPE INDEX_HOLDING_TYPE
    #endif
    #ifndef LEFT_INDEX_HOLDING_TIME
    #define LEFT_INDEX_HOLDING_TIME INDEX_HOLDING_TIME
    #endif
    #ifndef LEFT_INDEX_STREAK_DECAY
    #define LEFT_INDEX_STREAK_DECAY INDEX_STREAK_DECAY
    #endif
    #ifndef LEFT_INDEX_REPEAT_DECAY
    #define LEFT_INDEX_REPEAT_DECAY INDEX_REPEAT_DECAY
    #endif
    left_index: homey_left_index {
        compatible = "zmk,behavior-hold-tap";
        flavor = LEFT_INDEX_HOLDING_TYPE;
        hold-trigger-key-positions = <RIGHT_HAND_KEYS THUMB_KEYS>;
        hold-trigger-on-release; // wait for other home row mods
        tapping-term-ms = <LEFT_INDEX_HOLDING_TIME>;
        quick-tap-ms = <LEFT_INDEX_REPEAT_DECAY>;
        require-prior-idle-ms = <LEFT_INDEX_STREAK_DECAY>;
        #binding-cells = <2>;
        bindings = <&kp>, <&kp>;
    };
    #ifndef RIGHT_INDEX_HOLDING_TYPE
    #define RIGHT_INDEX_HOLDING_TYPE INDEX_HOLDING_TYPE
    #endif
    #ifndef RIGHT_INDEX_HOLDING_TIME
    #define RIGHT_INDEX_HOLDING_TIME INDEX_HOLDING_TIME
    #endif
    #ifndef RIGHT_INDEX_STREAK_DECAY
    #define RIGHT_INDEX_STREAK_DECAY INDEX_STREAK_DECAY
    #endif
    #ifndef RIGHT_INDEX_REPEAT_DECAY
    #define RIGHT_INDEX_REPEAT_DECAY INDEX_REPEAT_DECAY
    #endif
    right_index: homey_right_index {
        compatible = "zmk,behavior-hold-tap";
        flavor = RIGHT_INDEX_HOLDING_TYPE;
        hold-trigger-key-positions = <LEFT_HAND_KEYS THUMB_KEYS>;
        hold-trigger-on-release; // wait for other home row mods
        tapping-term-ms = <RIGHT_INDEX_HOLDING_TIME>;
        quick-tap-ms = <RIGHT_INDEX_REPEAT_DECAY>;
        require-prior-idle-ms = <RIGHT_INDEX_STREAK_DECAY>;
        #binding-cells = <2>;
        bindings = <&kp>, <&kp>;
    };

};
};

/* Automatically generated macro definitions */
/ {
    macros {

        // Left german quationmark
        quote_left: quote_left {
            label = "&QUOTE_LEFT";
            compatible = "zmk,behavior-macro";
            #binding-cells = <0>;
            bindings = <&kp RALT>
                , <&kp U>
                , <&kp N2>
                , <&kp N0>
                , <&kp N1>
                , <&kp E>
                , <&kp RET>;
        };

        // rightgerman quationmark
        quote_right: quote_right {
            label = "&QUOTE_RIGHT";
            compatible = "zmk,behavior-macro";
            #binding-cells = <0>;
            bindings = <&kp RALT>
                , <&kp U>
                , <&kp N2>
                , <&kp N0>
                , <&kp N1>
                , <&kp C>
                , <&kp RET>;
        };
    };
};

/* Automatically generated behavior definitions */
/ {
    behaviors {


    };
};

/* Automatically generated combos definitions */


/* Automatically generated keymap */
/ {
    keymap {
        compatible = "zmk,keymap";


        layer_Base {
            bindings = <
               &kp F1              &kp F2              &kp F3               &kp F4               &kp F5                                                                                                                                     &kp F6                &kp F7               &kp F8                  &kp F9               &kp F10
            &kp EQUAL              &kp N1              &kp N2               &kp N3               &kp N4  &kp N5                                                                                                       &kp N6                &kp N7                &kp N8               &kp N9                  &kp N0             &kp MINUS
            &kp GRAVE               &kp Q  &left_ring2 RALT W                &kp E                &kp R   &kp T                                                                                                        &kp Y                 &kp U                 &kp I  &right_ring2 RALT O                   &kp P              &kp LBKT
        &my_caps_word  &left_pinky LGUI A  &left_ring1 LALT S  &left_middy LCTRL D  &left_index LSHFT F   &kp G                                                                                                        &kp H  &right_index LSHFT J  &right_middy LCTRL K  &right_ring1 LALT L  &right_pinky LGUI SEMI               &kp SQT
            &kp LSHFT               &kp Z               &kp X                &kp C                &kp V   &kp B   &kp ESC   &kp UP                      &kp DOWN                      &kp LEFT  &kp RIGHT    &kp RET   &kp N                 &kp M             &kp COMMA              &kp DOT             &morph_pipe              &kp BSLH
 &magic LAYER_Magic 0             &kp F14           &kp PG_UP            &kp PG_DN              &kp END          &kp BSPC  &kp DEL  &ht_lower LAYER_Lower LSHIFT  &ht_lower LAYER_Lower LSHIFT    &kp TAB  &kp SPACE                        &cs_pl        &morph_l_brack       &morph_r_brack                  &cs_pr  &magic LAYER_Magic 0
            >;
        };

        layer_NUM_state {
            bindings = <
 &trans  &trans  &trans  &trans  &trans                                                                  &trans  &trans  &trans  &trans  &trans
 &trans  &trans  &trans  &trans  &trans  &trans                                                  &trans  &trans  &trans  &trans  &trans  &trans
 &trans  &trans  &trans  &trans  &trans  &trans                                                  &trans  &trans  &trans  &trans  &trans  &trans
 &trans  &trans  &trans  &trans  &trans  &trans                                                  &trans  &trans  &trans  &trans  &trans  &trans
 &trans  &trans  &trans  &trans  &trans  &trans  &trans  &trans  &trans  &trans  &trans  &trans  &trans  &trans  &trans  &trans  &trans  &trans
 &trans  &trans  &trans  &trans  &trans          &trans  &trans  &trans  &trans  &trans  &trans          &trans  &trans  &trans  &trans  &trans
            >;
        };

        layer_Typing {
            bindings = <
 &trans  &trans  &trans  &trans  &trans                                                                  &trans  &trans  &trans    &trans  &trans
 &trans  &trans  &trans  &trans  &trans  &trans                                                  &trans  &trans  &trans  &trans    &trans  &trans
 &trans  &trans   &kp W  &trans  &trans  &trans                                                  &trans  &trans  &trans   &kp O    &trans  &trans
 &trans   &kp A   &kp S   &kp D   &kp F  &trans                                                  &trans   &kp J   &kp K   &kp L  &kp SEMI  &trans
 &trans  &trans  &trans  &trans  &trans  &trans  &trans  &trans  &trans  &trans  &trans  &trans  &trans  &trans  &trans  &trans    &trans  &trans
 &trans  &trans  &trans  &trans  &trans          &trans  &trans  &trans  &trans  &trans  &trans          &trans  &trans  &trans    &trans  &trans
            >;
        };

        layer_Gaming {
            bindings = <
     &trans   &trans     &trans     &trans   &trans                                                                                  &trans    &trans     &trans    &trans  &trans
 &kp LA(F1)    &kp B  &kp PG_UP  &kp PG_DN  &kp TAB   &kp V                                                                &trans    &trans    &trans     &trans    &trans  &trans
 &kp LA(F2)   &kp N5     &kp N1     &kp N2   &kp N3  &kp N4                                                                &trans    &trans    &trans      &kp O    &trans  &trans
 &kp LA(F3)    &kp T      &kp Q      &kp W    &kp E   &kp R                                                                &trans     &kp J     &kp K      &kp L  &kp SEMI  &trans
 &kp LA(F4)    &kp G      &kp A      &kp S    &kp D   &kp F  &mmt LALT ESC  &kp SPACE   &tog 3  &kp BSPC  &kp DEL  &trans  &trans    &trans    &kp UP     &trans    &trans  &trans
 &kp LA(F5)  &kp F13      &kp Z      &kp X    &kp C              &kp LSHFT  &kp LCTRL  &kp F14    &trans   &trans  &trans          &kp LEFT  &kp DOWN  &kp RIGHT    &tog 1  &trans
            >;
        };

        layer_NUM_Keys {
            bindings = <
 &trans  &trans  &trans  &trans  &trans                                                                     &trans      &trans        &trans        &trans           &trans
 &trans  &trans  &trans  &trans  &trans  &trans                                                  &trans     &trans      &trans        &trans        &trans           &trans
 &trans  &trans  &trans  &trans  &trans  &trans                                                  &trans  &kp KP_N7   &kp KP_N8     &kp KP_N9  &kp KP_MINUS     &kp KP_SLASH
 &trans  &trans  &trans  &trans  &trans  &trans                                                  &trans  &kp KP_N4   &kp KP_N5     &kp KP_N6   &kp KP_PLUS  &kp KP_MULTIPLY
 &trans  &trans  &trans  &trans  &trans  &trans  &trans  &trans  &trans  &trans  &trans  &trans  &trans  &kp KP_N1   &kp KP_N2     &kp KP_N3        &trans           &trans
 &trans  &trans  &trans  &trans  &trans          &trans  &trans  &trans  &trans  &trans  &trans          &kp KP_N0  &kp KP_DOT  &kp KP_ENTER        &trans           &trans
            >;
        };

        layer_Lower {
            bindings = <
         &kp C_BRI_DN  &kp C_BRI_UP  &kp C_PREV  &kp C_NEXT   &kp C_PP                                                                          &kp C_MUTE  &kp C_VOL_DN  &kp C_VOL_UP            &none  &kp PAUSE_BREAK
         &kp RA(RBKT)         &none     &kp F19     &kp F21    &kp F23  &kp HOME                                                  &kp LC(RBKT)  &kp KP_NUM  &kp KP_EQUAL  &kp KP_SLASH  &kp KP_MULTIPLY  &kp PRINTSCREEN
         &kp RA(RBKT)         &none     &kp F20     &kp F22    &kp F24   &kp END                                                  &kp LC(FSLH)   &kp KP_N7     &kp KP_N8     &kp KP_N9     &kp KP_MINUS   &kp SCROLLLOCK
          &quote_left  &quote_right       &none      &kp UP      &none   &kp F17                                                       &kp F15   &kp KP_N4     &kp KP_N5     &kp KP_N6      &kp KP_PLUS            &none
             &kp CAPS         &none    &kp LEFT    &kp DOWN  &kp RIGHT   &kp F18   &none  &tog 2  &tog 3   &none   &none   &none       &kp F16   &kp KP_N1     &kp KP_N2     &kp KP_N3     &kp KP_ENTER            &none
 &magic LAYER_Magic 0      &kp HOME     &kp INS     &kp F11    &kp F12             &none   &none   &to 0   &none   &none   &none                 &kp KP_N0     &kp KP_N0    &kp KP_DOT     &kp KP_ENTER            &none
            >;
        };

        layer_Magic {
            bindings = <
  &bt BT_CLR            &none         &kp CAPS       &kp KP_NUM         &kp SLCK                                                                                  &none   &none   &none   &none  &bt BT_CLR_ALL
       &to 0           &tog 1           &tog 2           &tog 3           &tog 1            &none                                                         &none   &none   &none   &none   &none           &none
       &none  &rgb_ug RGB_SPI  &rgb_ug RGB_SAI  &rgb_ug RGB_HUI  &rgb_ug RGB_BRI  &rgb_ug RGB_TOG                                                         &none   &none   &none   &none   &none           &none
 &bootloader  &rgb_ug RGB_SPD  &rgb_ug RGB_SAD  &rgb_ug RGB_HUD  &rgb_ug RGB_BRD  &rgb_ug RGB_EFF                                                         &none   &none   &none   &none   &none     &bootloader
  &sys_reset            &none            &none            &none            &none            &none   &bt_2   &bt_3         &none   &none   &none   &none   &none   &none   &none   &none   &none      &sys_reset
       &none            &none            &none            &none            &none                    &bt_0   &bt_1  &out OUT_USB   &none   &none   &none           &none   &none   &none   &none           &none
            >;
        };

    };
};
